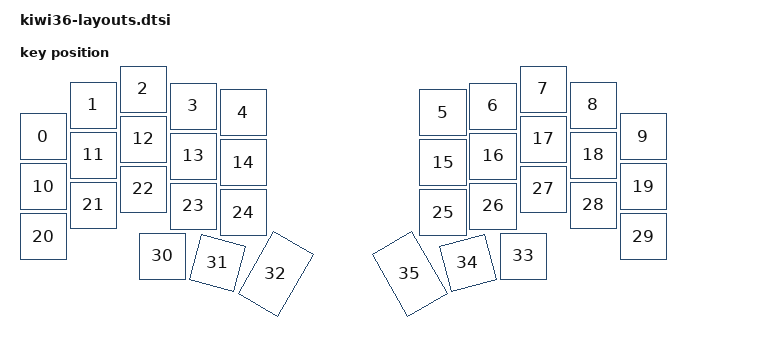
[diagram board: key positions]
#include <physical_layouts.dtsi>

/ {
    physical_layout0: physical_layout_0 {
        compatible = "zmk,physical-layout";
        display-name = "Default";
        transform = <&default_transform>;

        keys  //                     w   h    x    y     rot    rx    ry
            = <&key_physical_attrs 100 100    0   95       0     0     0>
            , <&key_physical_attrs 100 100  100   32       0     0     0>
            , <&key_physical_attrs 100 100  200    0       0     0     0>
            , <&key_physical_attrs 100 100  300   34       0     0     0>
            , <&key_physical_attrs 100 100  400   47       0     0     0>
            , <&key_physical_attrs 100 100  800   47       0     0     0>
            , <&key_physical_attrs 100 100  900   34       0     0     0>
            , <&key_physical_attrs 100 100 1000    0       0     0     0>
            , <&key_physical_attrs 100 100 1100   32       0     0     0>
            , <&key_physical_attrs 100 100 1200   95       0     0     0>
            , <&key_physical_attrs 100 100    0  195       0     0     0>
            , <&key_physical_attrs 100 100  100  132       0     0     0>
            , <&key_physical_attrs 100 100  200  100       0     0     0>
            , <&key_physical_attrs 100 100  300  134       0     0     0>
            , <&key_physical_attrs 100 100  400  147       0     0     0>
            , <&key_physical_attrs 100 100  800  147       0     0     0>
            , <&key_physical_attrs 100 100  900  134       0     0     0>
            , <&key_physical_attrs 100 100 1000  100       0     0     0>
            , <&key_physical_attrs 100 100 1100  132       0     0     0>
            , <&key_physical_attrs 100 100 1200  195       0     0     0>
            , <&key_physical_attrs 100 100    0  295       0     0     0>
            , <&key_physical_attrs 100 100  100  232       0     0     0>
            , <&key_physical_attrs 100 100  200  200       0     0     0>
            , <&key_physical_attrs 100 100  300  234       0     0     0>
            , <&key_physical_attrs 100 100  400  247       0     0     0>
            , <&key_physical_attrs 100 100  800  247       0     0     0>
            , <&key_physical_attrs 100 100  900  234       0     0     0>
            , <&key_physical_attrs 100 100 1000  200       0     0     0>
            , <&key_physical_attrs 100 100 1100  232       0     0     0>
            , <&key_physical_attrs 100 100 1200  295       0     0     0>
            , <&key_physical_attrs 100 100  238  334       0     0     0>
            , <&key_physical_attrs 100 100  349  348    1500   399   398>
            , <&key_physical_attrs 150 100  453  392 (-6000)   503   442>
            , <&key_physical_attrs 100 100  961  334       0     0     0>
            , <&key_physical_attrs 100 100  850  348 (-1500)   899   398>
            , <&key_physical_attrs 150 100  721  348    6000   771   398>
            ;
    };

        position_map {
        compatible = "zmk,physical-layout-position-map";
        complete; // Optional, see 'Example non-complete position map'
        layout1: layout1 {
            physical-layout = <&physical_layout0>;
            positions = <0  1  2  3  4    5  6  7  8  9  >
                       ,<10 11 12 13 14   15 16 17 18 19 >
                       ,<20 21 22 23 24   25 26 27 28 29 >
                             ,<30 31 32   35 34 33>; 
     };
    };
};
